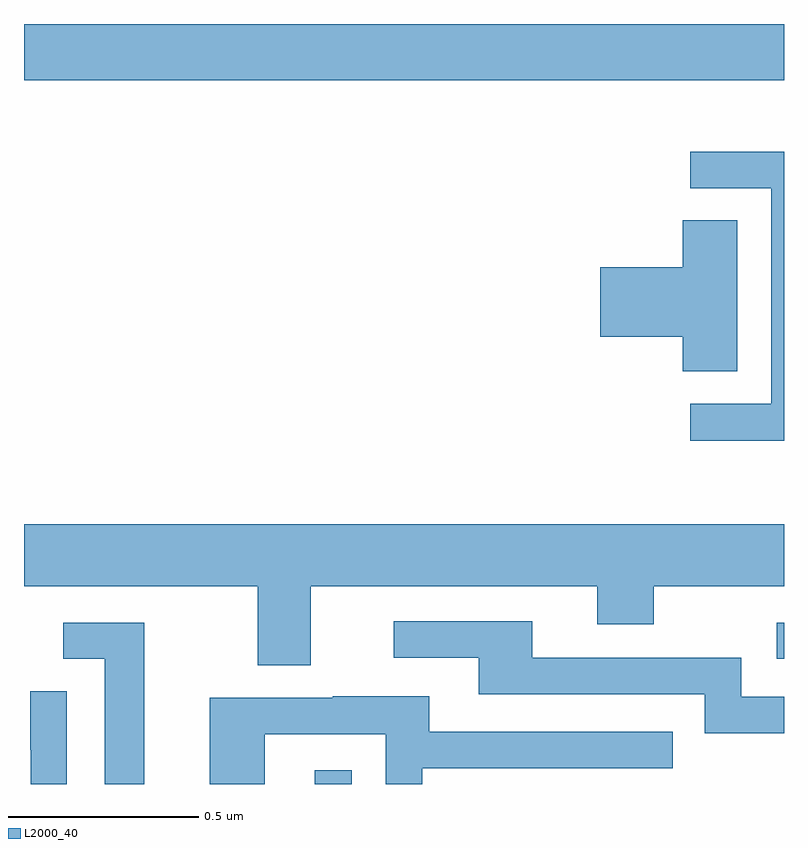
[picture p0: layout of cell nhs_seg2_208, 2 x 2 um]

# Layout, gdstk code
import gdstk
lib = gdstk.Library(unit=1e-6, precision=1e-09)
def R(c, l, rs):  # rectangles x0, y0, x1, y1
    for r in rs: c.add(gdstk.rectangle(r[:2], r[2:], *l))
def P(c, l, *ps):  # polygons
    for p in ps: c.add(gdstk.Polygon(p, *l))
L2000_40 = (2000, 40)

nhs_seg2_208 = lib.new_cell('nhs_seg2_208')
R(nhs_seg2_208, L2000_40, [(113.765,629.8,113.862,629.836), (114.981,630.129,115,630.225), (113,631.652,115,631.8)])
P(nhs_seg2_208, L2000_40, [(115,631.464),(114.753,631.464),(114.753,631.368),(114.966,631.368),(114.966,630.801),(114.753,630.801),(114.753,630.703),(115,630.703)],
  [(114.877,631.283),(114.734,631.283),(114.734,631.16),(114.516,631.16),(114.516,630.977),(114.734,630.977),(114.734,630.886),(114.877,630.886)],
  [(113.755,630.32),(114.509,630.32),(114.509,630.221),(114.657,630.221),(114.657,630.32),(115,630.32),(115,630.484),(113,630.484),(113,630.32),(113.615,630.32),(113.615,630.112),(113.755,630.112)],
  [(115,630.03),(114.888,630.03),(114.888,630.132),(114.337,630.132),(114.337,630.228),(113.973,630.228),(113.973,630.132),(114.197,630.132),(114.197,630.036),(114.792,630.036),(114.792,629.933),(115,629.933)],
  [(113.317,630.225),(113.103,630.225),(113.103,630.129),(113.213,630.129),(113.213,629.8),(113.317,629.8)],
  [(113.112,630.044),(113.016,630.044),(113.016,629.89),(113.018,629.89),(113.018,629.8),(113.112,629.8)],
  [(113.634,629.931),(113.952,629.931),(113.952,629.8),(114.048,629.8),(114.048,629.841),(114.707,629.841),(114.707,629.937),(114.067,629.937),(114.067,630.031),(113.813,630.031),(113.813,630.027),(113.489,630.027),(113.489,629.8),(113.634,629.8)])

lib.write_gds('nhs_seg2_208.gds')
